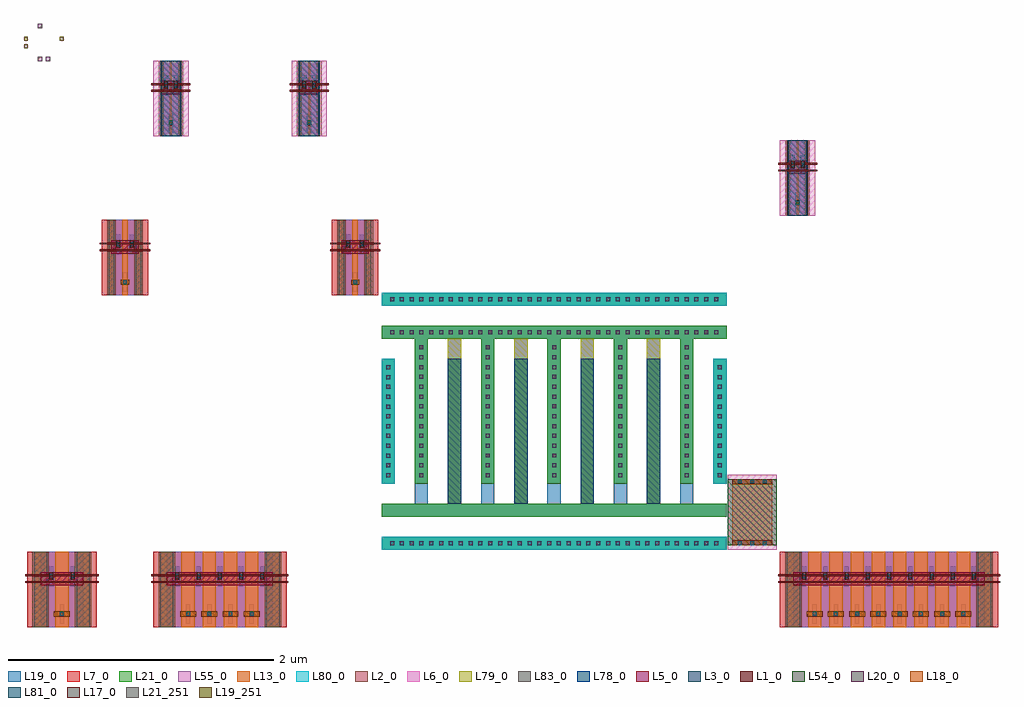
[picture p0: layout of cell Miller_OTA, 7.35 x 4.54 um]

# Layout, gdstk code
import gdstk
lib = gdstk.Library(unit=1e-6, precision=1e-09)
def R(c, l, rs):  # rectangles x0, y0, x1, y1
    for r in rs: c.add(gdstk.rectangle(r[:2], r[2:], *l))
def A(c, l, x, y, w, h, nx, ny, dx, dy):  # array of equal rectangles
    R(c, l, [(x+i*dx, y+j*dy, x+i*dx+w, y+j*dy+h) for i in range(nx) for j in range(ny)])
L1_0 = (1, 0)
L2_0 = (2, 0)
L3_0 = (3, 0)
L5_0 = (5, 0)
L6_0 = (6, 0)
L7_0 = (7, 0)
L13_0 = (13, 0)
L17_0 = (17, 0)
L18_0 = (18, 0)
L19_0 = (19, 0)
L19_251 = (19, 251)
L20_0 = (20, 0)
L21_0 = (21, 0)
L21_251 = (21, 251)
L54_0 = (54, 0)
L55_0 = (55, 0)
L78_0 = (78, 0)
L79_0 = (79, 0)
L80_0 = (80, 0)
L81_0 = (81, 0)
L83_0 = (83, 0)

nfet_pcell_03a2 = lib.new_cell('nfet_pcell_03a2')
R(nfet_pcell_03a2, L1_0, [(-0.226,0,0.326,0.014), (-0.226,0.05,0.326,0.064)])
R(nfet_pcell_03a2, L2_0, [(-0.172,-0.333,-0.048,0.235)])
R(nfet_pcell_03a2, L5_0, [(-0.11,-0.018,0,0.082), (0,-0.018,0.1,0.082), (0.1,-0.018,0.155,0.082)])
R(nfet_pcell_03a2, L7_0, [(-0.212,-0.333,0.312,0.235)])
R(nfet_pcell_03a2, L13_0, [(-0.16,-0.333,-0.06,0.235), (-0.16,-0.333,-0.06,0.235), (0,-0.333,0.1,0.235)])
R(nfet_pcell_03a2, L17_0, [(-0.045,0.025,-0.015,0.082), (0.115,0.025,0.145,0.082)])
R(nfet_pcell_03a2, L18_0, [(-0.01,-0.254,0.11,-0.214)])
R(nfet_pcell_03a2, L19_0, [(0.033,-0.308,0.067,-0.16), (0.033,-0.308,0.067,-0.16), (-0.047,-0.026,-0.013,0.126), (-0.047,-0.024,-0.013,0.124), (0.113,-0.024,0.147,0.124), (0.113,-0.02,0.147,0.12)])
R(nfet_pcell_03a2, L55_0, [(-0.11,-0.333,0.21,0.235)])
R(nfet_pcell_03a2, L81_0, [(0.035,-0.249,0.065,-0.219), (-0.045,0.035,-0.015,0.065), (0.115,0.035,0.145,0.065)])
R(nfet_pcell_03a2, L83_0, [(-0.16,-0.333,-0.06,0.235)])

rppoly_pcell_d50b = lib.new_cell('rppoly_pcell_d50b')
R(rppoly_pcell_d50b, L6_0, [(-0.184,-0.034,0.184,0.534)])
R(rppoly_pcell_d50b, L13_0, [(-0.15,0,0.15,0.5)])
R(rppoly_pcell_d50b, L18_0, [(-0.15,0,0.15,0.04), (-0.15,0.46,0.15,0.5)])
R(rppoly_pcell_d50b, L19_0, [(-0.15,0,0.15,0.04), (-0.15,0,0.15,0.04), (-0.15,0.46,0.15,0.5), (-0.15,0.46,0.15,0.5)])
R(rppoly_pcell_d50b, L54_0, [(-0.184,0,0.184,0.5)])
A(rppoly_pcell_d50b, L81_0, -0.11, 0.003, 0.03, 0.03, 3, 2, 0.095, 0.464)

pfet_pcell_bdec = lib.new_cell('pfet_pcell_bdec')
R(pfet_pcell_bdec, L1_0, [(-0.14,0,0.154,0.014), (-0.14,0.05,0.154,0.064)])
R(pfet_pcell_bdec, L2_0, [(-0.086,-0.333,-0.048,0.235), (0.062,-0.333,0.1,0.235)])
R(pfet_pcell_bdec, L3_0, [(-0.067,-0.333,0.081,0.235)])
R(pfet_pcell_bdec, L5_0, [(-0.067,-0.018,0,0.082), (0,-0.018,0.014,0.082), (0.014,-0.018,0.081,0.082)])
R(pfet_pcell_bdec, L6_0, [(-0.126,-0.333,0.14,0.235)])
A(pfet_pcell_bdec, L13_0, -0.074, -0.333, 0.014, 0.568, 3, 1, 0.074, 0)
R(pfet_pcell_bdec, L13_0, [(-0.074,-0.333,-0.06,0.235), (0.074,-0.333,0.088,0.235)])
R(pfet_pcell_bdec, L17_0, [(-0.045,0.025,-0.015,0.082), (0.029,0.025,0.059,0.082)])
R(pfet_pcell_bdec, L18_0, [(0,-0.254,0.014,-0.214)])
R(pfet_pcell_bdec, L19_0, [(-0.01,-0.308,0.024,-0.16), (-0.01,-0.308,0.024,-0.16), (-0.047,-0.026,-0.013,0.126), (-0.047,-0.024,-0.013,0.124), (0.027,-0.024,0.061,0.124), (0.027,-0.02,0.061,0.12)])
R(pfet_pcell_bdec, L55_0, [(-0.067,-0.333,0.081,0.235)])
R(pfet_pcell_bdec, L81_0, [(-0.008,-0.249,0.022,-0.219), (-0.045,0.035,-0.015,0.065), (0.029,0.035,0.059,0.065)])
R(pfet_pcell_bdec, L83_0, [(-0.074,-0.333,-0.06,0.235), (0.074,-0.333,0.088,0.235)])

nfet_pcell_b120 = lib.new_cell('nfet_pcell_b120')
R(nfet_pcell_b120, L1_0, [(-0.226,0,0.326,0.014), (-0.226,0.05,0.326,0.064)])
R(nfet_pcell_b120, L2_0, [(-0.172,-0.333,-0.048,0.235), (0.148,-0.333,0.272,0.235)])
R(nfet_pcell_b120, L5_0, [(-0.11,-0.018,0,0.082), (0,-0.018,0.1,0.082), (0.1,-0.018,0.21,0.082)])
R(nfet_pcell_b120, L7_0, [(-0.212,-0.333,0.312,0.235)])
A(nfet_pcell_b120, L13_0, -0.16, -0.333, 0.1, 0.568, 3, 1, 0.16, 0)
R(nfet_pcell_b120, L13_0, [(-0.16,-0.333,-0.06,0.235), (0.16,-0.333,0.26,0.235)])
R(nfet_pcell_b120, L17_0, [(-0.045,0.025,-0.015,0.082), (0.115,0.025,0.145,0.082)])
R(nfet_pcell_b120, L18_0, [(-0.01,-0.254,0.11,-0.214)])
R(nfet_pcell_b120, L19_0, [(0.033,-0.308,0.067,-0.16), (0.033,-0.308,0.067,-0.16), (-0.047,-0.026,-0.013,0.126), (-0.047,-0.024,-0.013,0.124), (0.113,-0.024,0.147,0.124), (0.113,-0.02,0.147,0.12)])
R(nfet_pcell_b120, L55_0, [(-0.11,-0.333,0.21,0.235)])
R(nfet_pcell_b120, L81_0, [(0.035,-0.249,0.065,-0.219), (-0.045,0.035,-0.015,0.065), (0.115,0.035,0.145,0.065)])
R(nfet_pcell_b120, L83_0, [(-0.16,-0.333,-0.06,0.235), (0.16,-0.333,0.26,0.235)])

nfet_pcell_9bb2 = lib.new_cell('nfet_pcell_9bb2')
R(nfet_pcell_9bb2, L1_0, [(-0.226,0,0.326,0.014), (-0.226,0.05,0.326,0.064)])
R(nfet_pcell_9bb2, L2_0, [(0.148,-0.333,0.272,0.235)])
R(nfet_pcell_9bb2, L5_0, [(-0.005,-0.018,0,0.082), (0,-0.018,0.1,0.082), (0.1,-0.018,0.21,0.082)])
R(nfet_pcell_9bb2, L7_0, [(-0.212,-0.333,0.312,0.235)])
R(nfet_pcell_9bb2, L13_0, [(0,-0.333,0.1,0.235), (0.16,-0.333,0.26,0.235), (0.16,-0.333,0.26,0.235)])
R(nfet_pcell_9bb2, L17_0, [(0.115,0.025,0.145,0.082)])
R(nfet_pcell_9bb2, L18_0, [(-0.01,-0.254,0.11,-0.214)])
R(nfet_pcell_9bb2, L19_0, [(0.033,-0.308,0.067,-0.16), (0.033,-0.308,0.067,-0.16), (0.113,-0.024,0.147,0.124), (0.113,-0.02,0.147,0.12)])
R(nfet_pcell_9bb2, L55_0, [(-0.11,-0.333,0.21,0.235)])
R(nfet_pcell_9bb2, L81_0, [(0.035,-0.249,0.065,-0.219), (0.115,0.035,0.145,0.065)])
R(nfet_pcell_9bb2, L83_0, [(0.16,-0.333,0.26,0.235)])

nfet_pcell_545a = lib.new_cell('nfet_pcell_545a')
R(nfet_pcell_545a, L1_0, [(-0.226,0,0.326,0.014), (-0.226,0.05,0.326,0.064)])
R(nfet_pcell_545a, L5_0, [(-0.005,-0.018,0,0.082), (0,-0.018,0.1,0.082), (0.1,-0.018,0.155,0.082)])
R(nfet_pcell_545a, L7_0, [(-0.212,-0.333,0.312,0.235)])
R(nfet_pcell_545a, L13_0, [(0,-0.333,0.1,0.235)])
R(nfet_pcell_545a, L17_0, [(0.115,0.025,0.145,0.082)])
R(nfet_pcell_545a, L18_0, [(-0.01,-0.254,0.11,-0.214)])
R(nfet_pcell_545a, L19_0, [(0.033,-0.308,0.067,-0.16), (0.033,-0.308,0.067,-0.16), (0.113,-0.024,0.147,0.124), (0.113,-0.02,0.147,0.12)])
R(nfet_pcell_545a, L55_0, [(-0.11,-0.333,0.21,0.235)])
R(nfet_pcell_545a, L81_0, [(0.035,-0.249,0.065,-0.219), (0.115,0.035,0.145,0.065)])

nfet_pcell_736b = lib.new_cell('nfet_pcell_736b')
R(nfet_pcell_736b, L1_0, [(-0.168,0,0.21,0.014), (-0.168,0.05,0.21,0.064)])
R(nfet_pcell_736b, L2_0, [(-0.114,-0.333,-0.048,0.235), (0.09,-0.333,0.156,0.235)])
R(nfet_pcell_736b, L5_0, [(-0.081,-0.018,0,0.082), (0,-0.018,0.042,0.082), (0.042,-0.018,0.123,0.082)])
R(nfet_pcell_736b, L7_0, [(-0.154,-0.333,0.196,0.235)])
A(nfet_pcell_736b, L13_0, -0.102, -0.333, 0.042, 0.568, 3, 1, 0.102, 0)
R(nfet_pcell_736b, L13_0, [(-0.102,-0.333,-0.06,0.235), (0.102,-0.333,0.144,0.235)])
R(nfet_pcell_736b, L17_0, [(-0.045,0.025,-0.015,0.082), (0.057,0.025,0.087,0.082)])
R(nfet_pcell_736b, L18_0, [(-0.01,-0.254,0.052,-0.214)])
R(nfet_pcell_736b, L19_0, [(0.004,-0.308,0.038,-0.16), (0.004,-0.308,0.038,-0.16), (-0.047,-0.026,-0.013,0.126), (-0.047,-0.024,-0.013,0.124), (0.055,-0.024,0.089,0.124), (0.055,-0.02,0.089,0.12)])
R(nfet_pcell_736b, L55_0, [(-0.081,-0.333,0.123,0.235)])
R(nfet_pcell_736b, L81_0, [(0.006,-0.249,0.036,-0.219), (-0.045,0.035,-0.015,0.065), (0.057,0.035,0.087,0.065)])
R(nfet_pcell_736b, L83_0, [(-0.102,-0.333,-0.06,0.235), (0.102,-0.333,0.144,0.235)])

contact_pcell_e1ed = lib.new_cell('Contact_pcell_e1ed')
R(contact_pcell_e1ed, L19_0, [(-0.034,-0.03,2.566,0.07)])
A(contact_pcell_e1ed, L20_0, 0.03, 0.005, 0.03, 0.03, 34, 1, 0.074, 0)
R(contact_pcell_e1ed, L21_0, [(-0.034,-0.03,2.566,0.07)])

abutcontact_pcell_5743 = lib.new_cell('AbutContact_pcell_5743')
R(abutcontact_pcell_5743, L19_0, [(-0.03,-0.005,0.07,1.085)])
A(abutcontact_pcell_5743, L20_0, 0.005, 0.044, 0.03, 0.03, 1, 14, 0, 0.074)
R(abutcontact_pcell_5743, L21_0, [(-0.03,-0.005,0.07,1.085)])

contact_pcell_1101 = lib.new_cell('Contact_pcell_1101')
R(contact_pcell_1101, L19_0, [(-0.034,-0.03,2.566,0.07)])
A(contact_pcell_1101, L20_0, 0.03, 0.005, 0.03, 0.03, 34, 1, 0.074, 0)
R(contact_pcell_1101, L21_0, [(-0.034,-0.03,2.566,0.07)])
R(contact_pcell_1101, L80_0, [(-0.034,-0.03,2.566,0.07)])

contact_pcell_809d = lib.new_cell('Contact_pcell_809d')
R(contact_pcell_809d, L19_0, [(-0.03,-0.018,0.07,0.922)])
A(contact_pcell_809d, L20_0, 0.005, 0.03, 0.03, 0.03, 1, 12, 0, 0.074)
R(contact_pcell_809d, L21_0, [(-0.03,-0.018,0.07,0.922)])
R(contact_pcell_809d, L80_0, [(-0.03,-0.018,0.07,0.922)])

ccap_pcell_71e1 = lib.new_cell('Ccap_pcell_71e1')
A(ccap_pcell_71e1, L19_0, 0.25, 0.1, 0.1, 1.24, 9, 1, 0.25, 0)
R(ccap_pcell_71e1, L19_0, [(0,-0.25,2.6,-0.15), (0,0,2.6,0.1), (0,0.25,0.1,1.19), (2.5,0.25,2.6,1.19), (0,1.34,2.6,1.44), (0,1.34,2.6,1.44), (0,1.59,2.6,1.69)])
A(ccap_pcell_71e1, L21_0, 0.5, 0.1, 0.1, 1.09, 4, 1, 0.5, 0)
A(ccap_pcell_71e1, L21_0, 0.25, 0.25, 0.1, 1.09, 5, 1, 0.5, 0)
R(ccap_pcell_71e1, L21_0, [(0,-0.25,2.6,-0.15), (0,0,2.6,0.1), (0,0,2.6,0.1), (0,0.25,0.1,1.19), (2.5,0.25,2.6,1.19), (0,1.34,2.6,1.44), (0,1.34,2.6,1.44), (0,1.59,2.6,1.69)])
A(ccap_pcell_71e1, L78_0, 0.5, 0.1, 0.1, 1.09, 4, 1, 0.5, 0)
A(ccap_pcell_71e1, L79_0, 0.5, 0.1, 0.1, 1.24, 4, 1, 0.5, 0)
ccap_pcell_71e1.add(gdstk.Reference(contact_pcell_e1ed, (0.034,1.37)))
ccap_pcell_71e1.add(gdstk.Reference(abutcontact_pcell_5743, (2.28,0.255)))
ccap_pcell_71e1.add(gdstk.Reference(abutcontact_pcell_5743, (1.78,0.255)))
ccap_pcell_71e1.add(gdstk.Reference(abutcontact_pcell_5743, (1.28,0.255)))
ccap_pcell_71e1.add(gdstk.Reference(abutcontact_pcell_5743, (0.78,0.255)))
ccap_pcell_71e1.add(gdstk.Reference(abutcontact_pcell_5743, (0.28,0.255)))
ccap_pcell_71e1.add(gdstk.Reference(contact_pcell_1101, (0.034,-0.22)))
ccap_pcell_71e1.add(gdstk.Reference(contact_pcell_1101, (0.034,1.62)))
ccap_pcell_71e1.add(gdstk.Reference(contact_pcell_809d, (2.53,0.268)))
ccap_pcell_71e1.add(gdstk.Reference(contact_pcell_809d, (0.03,0.268)))

miller_ota = lib.new_cell('Miller_OTA')
R(miller_ota, L19_251, [(0,0.097,0.03,0.127), (0,0.153,0.03,0.183), (0.27,0.153,0.3,0.183)])
R(miller_ota, L21_251, [(0.103,0,0.137,0.034), (0.163,0,0.197,0.034), (0.103,0.246,0.137,0.28)])
miller_ota.add(gdstk.Reference(nfet_pcell_03a2, (1.186,-3.932)))
miller_ota.add(gdstk.Reference(nfet_pcell_03a2, (5.908,-3.932)))
miller_ota.add(gdstk.Reference(rppoly_pcell_d50b, (5.488,-3.65)))
miller_ota.add(gdstk.Reference(pfet_pcell_bdec, (5.822,-0.832)))
miller_ota.add(gdstk.Reference(pfet_pcell_bdec, (1.1,-0.232)))
miller_ota.add(gdstk.Reference(pfet_pcell_bdec, (2.142,-0.232)))
miller_ota.add(gdstk.Reference(nfet_pcell_b120, (0.236,-3.932)))
miller_ota.add(gdstk.Reference(nfet_pcell_9bb2, (1.666,-3.932)))
miller_ota.add(gdstk.Reference(nfet_pcell_9bb2, (7.028,-3.932)))
miller_ota.add(gdstk.Reference(nfet_pcell_545a, (1.346,-3.932)))
miller_ota.add(gdstk.Reference(nfet_pcell_545a, (1.506,-3.932)))
miller_ota.add(gdstk.Reference(nfet_pcell_545a, (6.068,-3.932)))
miller_ota.add(gdstk.Reference(nfet_pcell_545a, (6.228,-3.932)))
miller_ota.add(gdstk.Reference(nfet_pcell_545a, (6.388,-3.932)))
miller_ota.add(gdstk.Reference(nfet_pcell_545a, (6.548,-3.932)))
miller_ota.add(gdstk.Reference(nfet_pcell_545a, (6.708,-3.932)))
miller_ota.add(gdstk.Reference(nfet_pcell_545a, (6.868,-3.932)))
miller_ota.add(gdstk.Reference(nfet_pcell_736b, (0.74,-1.432)))
miller_ota.add(gdstk.Reference(nfet_pcell_736b, (2.474,-1.432)))
miller_ota.add(gdstk.Reference(ccap_pcell_71e1, (2.694,-3.434)))

lib.write_gds('Miller_OTA.gds')
